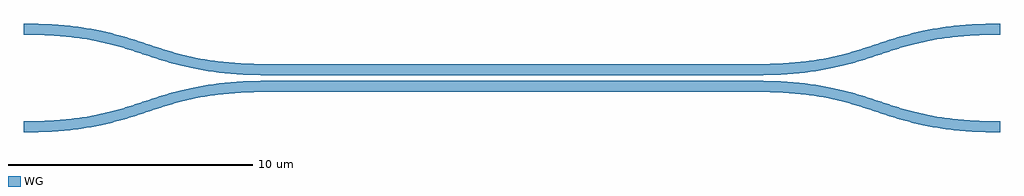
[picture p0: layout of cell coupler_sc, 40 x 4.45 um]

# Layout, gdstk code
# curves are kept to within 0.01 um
import gdstk
lib = gdstk.Library(unit=1e-6, precision=1e-09)
def R(c, l, rs):  # rectangles x0, y0, x1, y1
    for r in rs: c.add(gdstk.rectangle(r[:2], r[2:], *l))
def P(c, l, *ps):  # polygons
    for p in ps: c.add(gdstk.Polygon(p, *l))
WG = (3, 0)

coupler_sc = lib.new_cell('coupler_sc')
R(coupler_sc, WG, [(0,-0.225,20,0.225), (0,0.461,20,0.911)])
P(coupler_sc, WG, [(0,0.225),(-0.594,0.217),(-1.402,0.176),(-2.006,0.119),(-2.764,0.009),(-3.345,-0.109),(-3.96,-0.266),(-6,-0.911),(-6.58,-1.068),(-7.122,-1.187),(-7.827,-1.302),(-8.51,-1.375),(-9.28,-1.42),(-10,-1.432),(-10,-1.882),(-9.406,-1.874),(-8.598,-1.833),(-7.994,-1.776),(-7.236,-1.666),(-6.655,-1.548),(-6.04,-1.391),(-4,-0.746),(-3.42,-0.589),(-2.878,-0.47),(-2.173,-0.355),(-1.49,-0.282),(-0.72,-0.237),(0,-0.225)],
  [(0,0.461),(-0.594,0.469),(-1.402,0.51),(-2.006,0.567),(-2.764,0.677),(-3.345,0.795),(-3.96,0.952),(-6,1.597),(-6.58,1.754),(-7.122,1.873),(-7.827,1.988),(-8.51,2.061),(-9.28,2.106),(-10,2.118),(-10,2.568),(-9.406,2.56),(-8.598,2.519),(-7.994,2.462),(-7.236,2.352),(-6.655,2.234),(-6.04,2.077),(-4,1.432),(-3.42,1.275),(-2.878,1.156),(-2.173,1.041),(-1.49,0.968),(-0.72,0.923),(0,0.911)],
  [(20,0.461),(20.594,0.469),(21.402,0.51),(22.006,0.567),(22.764,0.677),(23.345,0.795),(23.96,0.952),(26,1.597),(26.58,1.754),(27.122,1.873),(27.827,1.988),(28.51,2.061),(29.28,2.106),(30,2.118),(30,2.568),(29.406,2.56),(28.598,2.519),(27.994,2.462),(27.236,2.352),(26.655,2.234),(26.04,2.077),(24,1.432),(23.42,1.275),(22.878,1.156),(22.173,1.041),(21.49,0.968),(20.72,0.923),(20,0.911)],
  [(20,0.225),(20.594,0.217),(21.402,0.176),(22.006,0.119),(22.764,0.009),(23.345,-0.109),(23.96,-0.266),(26,-0.911),(26.58,-1.068),(27.122,-1.187),(27.827,-1.302),(28.51,-1.375),(29.28,-1.42),(30,-1.432),(30,-1.882),(29.406,-1.874),(28.598,-1.833),(27.994,-1.776),(27.236,-1.666),(26.655,-1.548),(26.04,-1.391),(24,-0.746),(23.42,-0.589),(22.878,-0.47),(22.173,-0.355),(21.49,-0.282),(20.72,-0.237),(20,-0.225)])

lib.write_gds('coupler_sc.gds')
